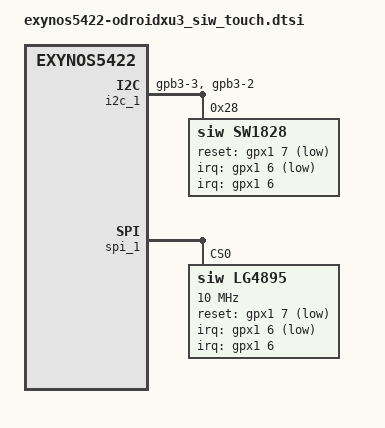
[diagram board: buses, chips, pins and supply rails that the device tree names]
/*
 * SiW Touch device tree source for Odroid-XU4 (Samsung Exynos5422)
 *
 * Copyright (c) 2016 Silicon Works - http://www.siliconworks.co.kr
 *
 * This program is free software; you can redistribute it and/or modify
 * it under the terms of the GNU General Public License version 2 as
 * published by the Free Software Foundation.
*/
#include <dt-bindings/gpio/gpio.h>

/{
/*
	//GPIO default setup for lg4894 IRQn & RSTn
	pinctrl@13400000 {
		touch_irq: touch-irq {
			samsung,pins = "gpx1-6";
			// 0 = input, 1 = output
			samsung,pin-function = <0>;
			// 0 = disable, 1 = pull dn, 2 = reserved, 3 = pull up
			samsung,pin-pud = <3>;
		};

		touch_reset: touch-reset {
			samsung,pins = "gpx1-7";
			samsung,pin-function = <1>;
			samsung,pin-pud = <0>;
		};
	};
*/

	/*
	 * add more pin configuration for I2C SC/SDA to pinctrl@14010000
	 * this area is alreay defined in exynos5422-pinctrl.dtsi
	 */
	pinctrl@14010000 {
		i2c1_bus: i2c1-bus {
			/* gpb3-3 : SCL, gpb3-2 : SDA */
			samsung,pins = "gpb3-3", "gpb3-2";
			samsung,pin-function = <2>;
			samsung,pin-pud = <3>;
			samsung,pin-drv = <3>;
		};
	};

	/*
	 * enable I2C@12C70000 adapter
	 */
	i2c_1: i2c@12C70000 {
		compatible = "samsung,s3c2440-i2c";
		reg = <0x12C70000 0x1000>;
		interrupts = <0 57 0>;
		#address-cells = <1>;
		#size-cells = <0>;
		pinctrl-names = "default";
		pinctrl-0 = <&i2c1_bus>;
		clocks = <&clock 1493>, <&clock 1493>;
		clock-names = "rate_i2c", "gate_i2c";
	};
};

&i2c_1 {					// indicates parent device : I2C_1 adapter block
//
	sw1828@28 {				// define new client device(sw1828), slave addr is 0x28
		status = "okay";
		compatible = "siw,sw1828";	// compatible name (see touch_sw1828.c)
		reg = <0x28>;
		interrupt-parent = <&gpx1>;
		interrupts = <6 0x02>;
		irqflags = <0x2002>;

		chip_flags = <0x100>;

		reset-gpio = <&gpx1 7 GPIO_ACTIVE_LOW>;
		irq-gpio = <&gpx1 6 GPIO_ACTIVE_LOW>;

		// Caps
		max_x = <800>;
		max_y = <480>;
		max_pressure = <0xff>;
		max_width = <15>;
		max_orientation = <1>;
		max_id = <10>;

		// role
		hw_reset_delay = <210>;
		sw_reset_delay = <90>;
		use_lpwg = <0>;
		use_lpwg_test = <0>;

		// firmware
		use_firmware = <1>;		// enable firmware control
		use_fw_upgrade = <1>;	// auto-update during driver initialization
		fw_image = "siw/sw1828/LA080WV9_9_02_00_3V.img";	// in android -> /lib/firmware/siw/...
	//	panel_spec = "siw/sw1828/ph1_limit.txt";
	//	panel_spec_mfts = "siw/sw1828/ph1_limit_mfts.txt";

		//absoulte path
		prd_in_file = "/mnt/sdcard/siw/sw1828_test_spec_V0.1.txt";
		prd_in_file_m = "/mnt/sdcard/siw/sw1828_test_spec_mfts_V0.1.txt";
		prd_out_file = "/mnt/sdcard/siw/touch_self_test.txt";
	//	prd_out_file_mo_aat = "/mnt/sdcard/siw/touch_self_mfts_aat.txt";
	//	prd_out_file_mo_mfo = "/mnt/sdcard/siw/touch_self_mfts_mfo.txt";
	//	prd_out_file_mo_mfl = "/mnt/sdcard/siw/touch_self_mfts_mfl.txt";
	//	prd_out_file_mo_mcv = "/mnt/sdcard/siw/touch_self_mfts_mcv.txt";
	};
//

/*
	lg4894@28 {				// define new client device(lg4894), slave addr is 0x28
		status = "okay";
		compatible = "siw,lg4894";	// compatible name (see touch_lg4894.c)
		reg = <0x28>;				// slave addr. : 0x28
		interrupt-parent = <&gpx1>;	// interrupt source : GPIO group 'gpx1'
		interrupts = <6 0x02>;		// index 6(0~7) in gpx1 external interrupts
		irqflags = <0x2002>;		// IRQF_ONESHOT(0x2000) | IRQF_TRIGGER_FALLING(0x2)

		chip_flags = <0x100>;		// TOUCH_USE_MON_THREAD

		reset-gpio = <&gpx1 7 GPIO_ACTIVE_LOW>;	// index 7 in gpx1
		irq-gpio = <&gpx1 6 GPIO_ACTIVE_LOW>;	// index 6 in gpx1

		// Caps
		max_x = <720>;
		max_y = <1280>;
		max_pressure = <0xff>;
		max_width = <15>;
		max_orientation = <1>;
		max_id = <10>;

		// role
		hw_reset_delay = <210>;
		sw_reset_delay = <90>;
		use_lpwg = <1>;
		use_lpwg_test = <1>;

		// firmware
		use_firmware = <1>;		// enable firmware control
		use_fw_upgrade = <1>;		// auto-update during driver initialization
		fw_image = "siw/lg4894/L0W53K6P_0_24.img";	// in android -> /lib/firmware/siw/...
		panel_spec = "siw/lg4894/ph1_limit.txt";
		panel_spec_mfts = "siw/lg4894/ph1_limit_mfts.txt";

		prd_in_file = "/mnt/sdcard/siw/lg4894_test_spec_V0.1.txt";
		prd_in_file_m = "/mnt/sdcard/siw/lg4894_test_spec_mfts_V0.1.txt";
		prd_out_file = "/mnt/sdcard/siw/touch_self_test.txt";
	};
*/
};

&spi_1 {					// indicates parent device : SPI_1 master block
	status = "okay";
	samsung,spi-src-clk = <0>;		//clk source indicator : sci->src_clk_nr -> '0' on spi_busclk0
	num-cs = <1>;

	lg4895@0 {
		status = "okay";
	//	#address-cells = <1>;
	//	#size-cells = <0>;
		compatible = "siw,lg4895";
		reg = <0>;		//chip select indicator : spi->chip_select
		spi-max-frequency = <10000000>;

		interrupt-parent = <&gpx1>;	// interrupt source : GPIO group 'gpx1'
		interrupts = <6 0x02>;		// index 6(0~7) in gpx1 external interrupts
		irqflags = <0x2002>;		// IRQF_ONESHOT(0x2000) | IRQF_TRIGGER_FALLING(0x2)

		chip_flags = <0>;

		reset-gpio = <&gpx1 7 GPIO_ACTIVE_LOW>;	// index 7 in gpx1
		irq-gpio = <&gpx1 6 GPIO_ACTIVE_LOW>;	// index 6 in gpx1

		// Caps
		max_x = <720>;
		max_y = <1280>;
		max_pressure = <0xff>;
		max_width = <15>;
		max_orientation = <1>;
		max_id = <10>;

		// role
		hw_reset_delay = <210>;
		sw_reset_delay = <90>;
		use_lpwg = <1>;
		use_lpwg_test = <1>;

		// firmware
		use_firmware = <1>;
		use_fw_upgrade = <1>;
		fw_image = "siw/lg4895/L0W49P1_1_13.img";	// in android -> /lib/firmware/siw/...
	//	panel_spec = "siw/lg4895/ph1_limit.txt";
	//	panel_spec_mfts = "siw/lg4895/ph1_limit_mfts.txt";

		prd_in_file = "/mnt/sdcard/siw/lg4895_test_spec_V0.1.txt";
		prd_in_file_m = "/mnt/sdcard/siw/lg4895_test_spec_mfts_V0.1.txt";
		prd_out_file = "/mnt/sdcard/siw/touch_self_test.txt";

		controller-data {
			cs-gpio = <&gpa2 5 GPIO_ACTIVE_LOW>;
			samsung,spi-feedback-delay = <0>;
			samsung,spi-chip-select-mode = <0>;	//MANUAL_CS_MODE = 0, AUTO_CS_MODE = 1,
		};
	};
};



